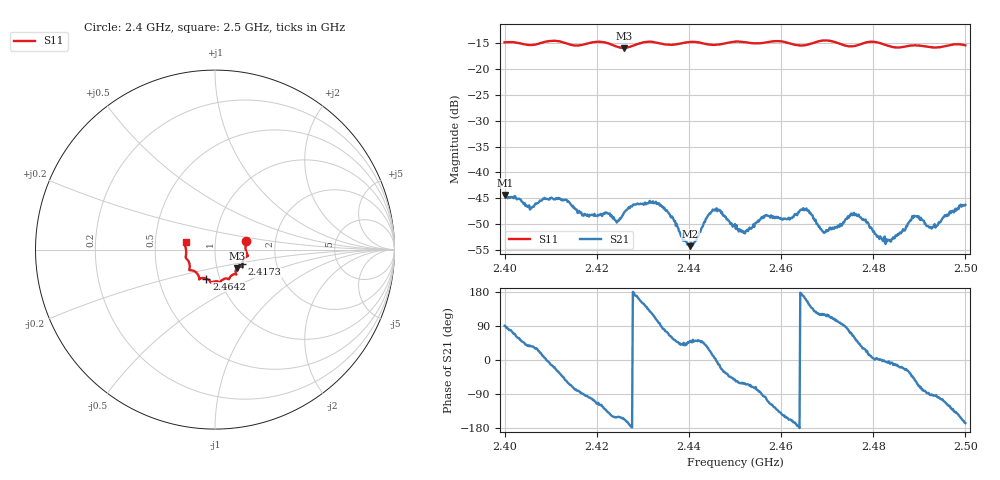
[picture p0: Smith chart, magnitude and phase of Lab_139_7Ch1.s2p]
# Hz S RI R 50
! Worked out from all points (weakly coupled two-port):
!   601 points, 2.4 GHz to 2.5 GHz, reference 50 ohm
!   highest |S21| = -44.34 dB at 2.4002 GHz (marker M1); lowest = -54.2 dB at 2.4403 GHz (marker M2)
!   lowest |S11| = -15.9 dB at 2.4258 GHz (marker M3), VSWR 1.38, Z = 62.3 - j13.2 ohm
!   |S11| at or under -10 dB: start of sweep to end of sweep
!   S12 and S22 are empty: the file has one direction only
!   S11 on the Smith chart (normalised r, x): 2.4 GHz: 1.41, +0.14; 2.4173 GHz: 1.34, -0.23; 2.4642 GHz: 0.86, -0.29; 2.5 GHz: 0.72, +0.06
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2.4e9  0.1736 0.0493  -2.86e-05 0.00602  0 0  0 0
2.400167e9  0.1742 0.0487  5.83e-05 0.00607  0 0  0 0
2.405667e9  0.1701 0.00631  0.00358 0.00266  0 0  0 0
2.413e9  0.1745 -0.0401  0.00349 -0.00419  0 0  0 0
2.416667e9  0.153 -0.0741  0.000216 -0.0041  0 0  0 0
2.417333e9  0.1521 -0.0818  -0.000132 -0.00398  0 0  0 0
2.424333e9  0.134 -0.0948  -0.00288 -0.00158  0 0  0 0
2.425833e9  0.1218 -0.1031  -0.00365 -0.00172  0 0  0 0
2.433333e9  0.1136 -0.137  -0.000867 0.00494  0 0  0 0
2.440333e9  0.0788 -0.1646  0.00124 0.0015  0 0  0 0
2.4455e9  0.0516 -0.1627  0.00435 0.000446  0 0  0 0
2.45e9  0.0287 -0.1813  0.00196 -0.0025  0 0  0 0
2.452333e9  0.0214 -0.1796  0.00117 -0.00247  0 0  0 0
2.456333e9  -0.00879 -0.1788  -0.000395 -0.00365  0 0  0 0
2.464167e9  -0.048 -0.1615  -0.00432 0.000176  0 0  0 0
2.466667e9  -0.0763 -0.159  -0.00286 0.00263  0 0  0 0
2.469667e9  -0.0886 -0.1662  -0.0013 0.00232  0 0  0 0
2.476333e9  -0.12 -0.1176  0.00246 0.00306  0 0  0 0
2.483333e9  -0.1406 -0.0897  0.00223 -0.000139  0 0  0 0
2.489e9  -0.1629 -0.0448  0.00229 -0.00301  0 0  0 0
2.492667e9  -0.1606 -0.0179  -3.12e-05 -0.00287  0 0  0 0
2.5e9  -0.1636 0.0424  -0.00473 -0.00112  0 0  0 0
